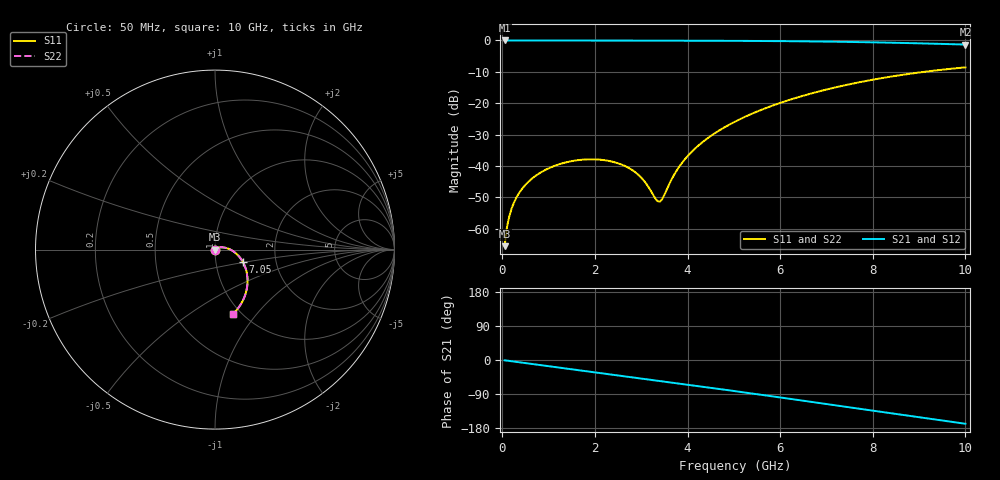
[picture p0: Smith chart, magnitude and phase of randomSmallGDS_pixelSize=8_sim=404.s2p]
! freq	dB(S11)	phase(S11)	dB(S12)	phase(S12)
!  dB(S21)	phase(S21)	dB(S22)	phase(S22)
!S-par simulation data
#  GHz  S  DB  R 50
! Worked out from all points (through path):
!   200 points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, 50 MHz to 10 GHz, reference 50 ohm
!   highest |S21| = 0.00 dB at 50 MHz (marker M1); lowest = -1.3 dB at 10 GHz (marker M2)
!   group delay of S21, straight-line fit = 46.9 ps
!   lowest |S11| = -65.6 dB at 50 MHz (marker M3), VSWR 1.00, Z = 50 - j0.0527 ohm
!   |S11| at or under -10 dB: start of sweep to 9.111 GHz
!   |S22| runs from -65.6 to -8.6 dB; largest |S21 - S12| = 0
!   S11 on the Smith chart (normalised r, x): 50 MHz: 1.00, -0.00; 7.05 GHz: 1.35, -0.19; 10 GHz: 0.92, -0.76
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0.05  -65.57 -88.9  -0.00 -0.8  -0.00 -0.8  -65.56 -88.9
0.1  -59.57 -91.3  -0.00 -1.6  -0.00 -1.6  -59.57 -91.3
0.2  -53.63 -94.1  -0.00 -3.3  -0.00 -3.3  -53.63 -94.1
0.35  -48.93 -97.4  -0.00 -5.7  -0.00 -5.7  -48.93 -97.4
0.5  -46.01 -100.3  -0.01 -8.1  -0.01 -8.1  -46.01 -100.3
0.75  -42.83 -104.8  -0.01 -12.2  -0.01 -12.2  -42.83 -104.8
1.05  -40.43 -110.2  -0.02 -17.0  -0.02 -17.0  -40.43 -110.2
1.75  -37.98 -123.3  -0.03 -28.3  -0.03 -28.3  -37.98 -123.2
2.3  -38.39 -134.8  -0.04 -37.2  -0.04 -37.2  -38.39 -134.7
2.75  -40.80 -147.3  -0.05 -44.5  -0.05 -44.5  -40.81 -147.1
3  -43.73 -158.9  -0.05 -48.6  -0.05 -48.6  -43.74 -158.6
3.3  -50.28 158.7  -0.06 -53.5  -0.06 -53.5  -50.37 159.1
3.4  -51.36 122.3  -0.06 -55.1  -0.06 -55.1  -51.50 122.2
3.75  -41.83 51.3  -0.07 -60.9  -0.07 -60.9  -41.85 51.0
4.05  -36.09 36.8  -0.08 -65.8  -0.08 -65.8  -36.09 36.6
4.5  -30.46 24.5  -0.10 -73.3  -0.10 -73.3  -30.47 24.3
5.05  -25.69 12.9  -0.13 -82.6  -0.13 -82.6  -25.69 12.8
5.8  -20.95 -1.2  -0.19 -95.4  -0.19 -95.4  -20.96 -1.3
6.7  -16.78 -17.4  -0.31 -110.9  -0.31 -110.9  -16.78 -17.5
7.05  -15.46 -23.6  -0.37 -117.0  -0.37 -117.0  -15.46 -23.7
8.35  -11.62 -46.4  -0.70 -139.8  -0.70 -139.8  -11.62 -46.5
10  -8.58 -74.4  -1.30 -168.3  -1.30 -168.3  -8.58 -74.4
